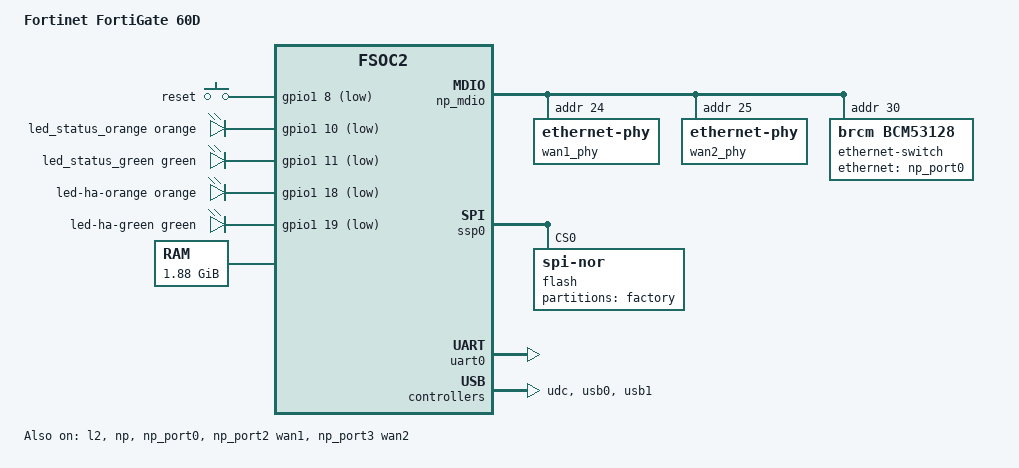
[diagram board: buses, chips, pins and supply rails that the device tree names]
// SPDX-License-Identifier: GPL-2.0-only OR MIT
/dts-v1/;

#include "fsoc2.dtsi"
#include <dt-bindings/gpio/gpio.h>
#include <dt-bindings/input/input.h>
#include <dt-bindings/leds/common.h>

/ {
	model = "Fortinet FortiGate 60D";
	compatible = "fortinet,fg60d", "fortinet,fsoc2";

	aliases {
		serial0 = &uart0;
		led-boot = &led_status_orange;
		led-failsafe = &led_status_orange;
		led-running = &led_status_green;
		led-upgrade = &led_status_orange;
	};

	chosen {
		stdout-path = "serial0:9600n8";
	};

	/* Front panel reset button, pressed low */
	keys {
		compatible = "gpio-keys-polled";
		poll-interval = <100>;

		button-reset {
			label = "reset";
			linux,code = <KEY_RESTART>;
			gpios = <&gpio1 8 GPIO_ACTIVE_LOW>;
		};
	};

	/*
	 * STATUS and HA front panel LEDs: one bicolour LED each, one line per
	 * colour, lit low. Their state is kept as the boot loader left it
	 * (all off). The led-* aliases (STATUS orange while booting, green
	 * once running) are read by user space only, the kernel ignores them.
	 */
	leds {
		compatible = "gpio-leds";

		led_status_orange: led-status-orange {
			color = <LED_COLOR_ID_ORANGE>;
			function = LED_FUNCTION_STATUS;
			gpios = <&gpio1 10 GPIO_ACTIVE_LOW>;
			default-state = "keep";
		};

		led_status_green: led-status-green {
			color = <LED_COLOR_ID_GREEN>;
			function = LED_FUNCTION_STATUS;
			gpios = <&gpio1 11 GPIO_ACTIVE_LOW>;
			default-state = "keep";
		};

		led-ha-orange {
			color = <LED_COLOR_ID_ORANGE>;
			function = "ha";
			gpios = <&gpio1 18 GPIO_ACTIVE_LOW>;
			default-state = "keep";
		};

		led-ha-green {
			color = <LED_COLOR_ID_GREEN>;
			function = "ha";
			gpios = <&gpio1 19 GPIO_ACTIVE_LOW>;
			default-state = "keep";
		};
	};

	/*
	 * 2 GiB of RAM; the top 128 MiB are reserved below.
	 */
	memory@0 {
		device_type = "memory";
		reg = <0x00000000 0x78000000>;
	};

	reserved-memory {
		#address-cells = <1>;
		#size-cells = <1>;
		ranges;

		/*
		 * Descriptor rings the boot loader leaves the network
		 * processor running on, until its driver takes over: RX at
		 * 0x9a00000 with its buffers up to 0x9a20000, TX at 0x9a20420
		 * with its buffer at 0x9a205c0.
		 */
		np_loader: np-loader@9a00000 {
			reg = <0x09a00000 0x00200000>;
			no-map;
		};

		/*
		 * Packet buffer of the network processor, 0x100 blocks of
		 * 64 KiB: where the boot loader puts it, so that it finds it
		 * there again after a reboot.
		 */
		np_pbuf: np-pbuf@9c00000 {
			reg = <0x09c00000 0x01000000>;
			no-map;
		};

		/*
		 * Flow tables of the network processor (hash table, then
		 * overflow table).
		 */
		np_flow: np-flow@3c000000 {
			reg = <0x3c000000 0x03800000>;
			no-map;
		};

		/*
		 * Security associations of the IPsec engine of the network
		 * processor (they survive a reboot), written by the driver when
		 * it offers IPsec offload; kept out of the memory of the kernel
		 * in every case.
		 */
		np_sa: np-sa@3fc00000 {
			reg = <0x3fc00000 0x00400000>;
			no-map;
		};

		/*
		 * Top 128 MiB, kept out of the memory of the kernel, in case the boot loader passes a memory
		 * size that covers them, which would replace the one above.
		 */
		vendor_reserved: memory@78000000 {
			reg = <0x78000000 0x08000000>;
			no-map;
		};
	};

	/*
	 * Internal 4 GB USB boot disk: write windows of its installer, armed
	 * from user space (sector 0, where only the name and build number of
	 * image 0 and the active flags of partitions 1 and 2 may change, and
	 * partition 1, the slot of image 0), and the persistent window of the
	 * writable file system of that slot (rootfs_data, sectors 32768 to
	 * 524287, after the 16 380 KiB boot image at sectors 1 to 32760),
	 * open without arming. rootfs_data is aligned on the 4 KiB pages of
	 * the page cache of the disk, through which its loop device writes;
	 * sectors 32761 to 32767 and 524288 of the slot stay unused.
	 */
	write-windows {
		compatible = "fortinet,usb-disk-write-windows";
		fortinet,disk-vendor = "FORTINET";
		fortinet,disk-model = "S01_V140320_004";
		fortinet,disk-sectors = /bits/ 64 <7913472>;
		fortinet,write-windows = <0 1>, <1 524288>;
		fortinet,sector0-bytes = <0x10 32>, <0x128 4>, <0x1be 1>, <0x1ce 1>;
		fortinet,persistent-windows = <32768 491520>;
	};

	/* Writable file system of the slot of image 0, for user space */
	rootfs-data {
		compatible = "fortinet,disk-rootfs-data";
		fortinet,disk-vendor = "FORTINET";
		fortinet,disk-model = "S01_V140320_004";
		fortinet,disk-sectors = /bits/ 64 <7913472>;
		fortinet,rootfs-data = <32768 491520>;
	};
};

/*
 * Only the lines of the button (8) and of the LEDs (10, 11, 18, 19) are
 * usable. Lines 6, 7, 9 and 23 are enables and resets the boot loader
 * drives (7, 9 and 23 pulsed low, probably the PHYs and the switch), line
 * 14 is found high, lines 12, 13, 16 and 17 are found as outputs, all for
 * an unknown purpose; the other lines up to 19 and 20 to 31 are not
 * known: all are reserved, never touched.
 */
&gpio1 {
	gpio-reserved-ranges = <0 8>, <9 1>, <12 6>, <20 12>;
	status = "okay";
};

/*
 * The boot loader leaves the L2 cache off; the driver turns it on.
 */
&l2 {
	status = "okay";
};

/*
 * The base MAC address comes from the boot flash (mac_base below). Not a
 * device, the cell would hold the probe of the network processor forever
 * if the flash failed: the driver waits for it until the end of the boot,
 * then takes the base from the logical interface table.
 *
 * Reset pins of the NP GPIO block (0 = switch link, 2 = wan1 PHY, 4 = wan2
 * PHY, active low): the boot loader drives them high on its TFTP path only;
 * the driver pulses them low then leaves them outputs at 1 at its probe, so
 * that the kernel also finds its PHYs and switch when booted from the boot
 * device.
 */
&np {
	memory-region = <&np_pbuf>, <&np_loader>, <&np_flow>, <&np_sa>;
	nvmem-cells = <&mac_base 0>;
	nvmem-cell-names = "mac-base";
	post-init-providers = <&mac_base>;
	fortinet,reset-pins = <0 2 4>;
	status = "okay";
};

/*
 * BCM54612E PHYs of WAN1 and WAN2, and the BCM53128 switch, managed through
 * its pseudo-PHY. The internal PHYs of the switch, at the address of their
 * port, are reached by the switch driver.
 */
&np_mdio {
	wan1_phy: ethernet-phy@18 {
		reg = <0x18>;

		leds {
			#address-cells = <1>;
			#size-cells = <0>;

			/* Speed: one bicolour LED between the LED1 and LED2 pins */
			led@0 {
				reg = <0>;
				color = <LED_COLOR_ID_GREEN>;
				function = LED_FUNCTION_SPEED_WAN;
			};

			led@1 {
				reg = <1>;
				color = <LED_COLOR_ID_ORANGE>;
				function = LED_FUNCTION_SPEED_WAN;
			};

			/* Link and activity */
			led@2 {
				reg = <2>;
				color = <LED_COLOR_ID_GREEN>;
				function = LED_FUNCTION_WAN;
			};
		};
	};

	wan2_phy: ethernet-phy@19 {
		reg = <0x19>;

		leds {
			#address-cells = <1>;
			#size-cells = <0>;

			/* Speed: one bicolour LED between the LED1 and LED2 pins */
			led@0 {
				reg = <0>;
				color = <LED_COLOR_ID_GREEN>;
				function = LED_FUNCTION_SPEED_WAN;
			};

			led@1 {
				reg = <1>;
				color = <LED_COLOR_ID_ORANGE>;
				function = LED_FUNCTION_SPEED_WAN;
			};

			/* Link and activity */
			led@2 {
				reg = <2>;
				color = <LED_COLOR_ID_GREEN>;
				function = LED_FUNCTION_WAN;
			};
		};
	};

	ethernet-switch@1e {
		compatible = "brcm,bcm53128";
		reg = <30>;

		/*
		 * Traffic class 7 on every user port: the network processor
		 * classes the frames of the switch on their tag (port and
		 * class) and never matches port 0 (dmz) in class 0.
		 */
		brcm,port-traffic-class = <7>;

		/*
		 * Front panel ports in reverse order, DMZ on port 0. Factory
		 * MAC addresses: base + 1 for dmz, base + 0 for internal1,
		 * base + 4 to base + 9 for internal2 to internal7 (base + 2 and
		 * base + 3 are wan1 and wan2).
		 */
		ethernet-ports {
			#address-cells = <1>;
			#size-cells = <0>;

			ethernet-port@0 {
				reg = <0>;
				label = "dmz";
				nvmem-cells = <&mac_base 1>;
				nvmem-cell-names = "mac-address";
				post-init-providers = <&mac_base>;
			};

			ethernet-port@1 {
				reg = <1>;
				label = "internal7";
				nvmem-cells = <&mac_base 9>;
				nvmem-cell-names = "mac-address";
				post-init-providers = <&mac_base>;
			};

			ethernet-port@2 {
				reg = <2>;
				label = "internal6";
				nvmem-cells = <&mac_base 8>;
				nvmem-cell-names = "mac-address";
				post-init-providers = <&mac_base>;
			};

			ethernet-port@3 {
				reg = <3>;
				label = "internal5";
				nvmem-cells = <&mac_base 7>;
				nvmem-cell-names = "mac-address";
				post-init-providers = <&mac_base>;
			};

			ethernet-port@4 {
				reg = <4>;
				label = "internal4";
				nvmem-cells = <&mac_base 6>;
				nvmem-cell-names = "mac-address";
				post-init-providers = <&mac_base>;
			};

			ethernet-port@5 {
				reg = <5>;
				label = "internal3";
				nvmem-cells = <&mac_base 5>;
				nvmem-cell-names = "mac-address";
				post-init-providers = <&mac_base>;
			};

			ethernet-port@6 {
				reg = <6>;
				label = "internal2";
				nvmem-cells = <&mac_base 4>;
				nvmem-cell-names = "mac-address";
				post-init-providers = <&mac_base>;
			};

			ethernet-port@7 {
				reg = <7>;
				label = "internal1";
				nvmem-cells = <&mac_base 0>;
				nvmem-cell-names = "mac-address";
				post-init-providers = <&mac_base>;
			};

			/* IMP port, RGMII to link 0 of the network processor */
			ethernet-port@8 {
				reg = <8>;
				ethernet = <&np_port0>;
				/* The switch adds the RGMII delays of the link. */
				phy-mode = "rgmii";

				/*
				 * Pause on the IMP: the switch then holds
				 * frames from the network processor and sends
				 * pause frames instead of dropping them at the
				 * IMP input when a user port is congested.
				 */
				fixed-link {
					speed = <1000>;
					full-duplex;
					pause;
				};
			};
		};
	};
};

/*
 * RGMII link to the IMP port of the switch, DSA conduit. The network
 * processor classes the frames of each switch port on a LIF of its own:
 * dmz on LIF 1, internal7 to internal1 (ports 1 to 7) on LIFs 10 to 4, so
 * that the flows through the switch ports are offloaded (directions set by
 * the switch_offload parameter of the driver). The conduit takes LIF 11
 * for the frames of the switch the network processor does not class by
 * port.
 */
&np_port0 {
	/* No delay on this side: the switch adds them. */
	phy-mode = "rgmii";
	status = "okay";
	fortinet,logical-interface = <11>;
	fortinet,switch-logical-interfaces = <1 10 9 8 7 6 5 4>;

	fixed-link {
		speed = <1000>;
		full-duplex;
	};
};

/*
 * RGMII delays in the PHYs, as their strapping sets them (the network
 * processor adds none).
 */
&np_port2 {
	label = "wan1";
	phy-handle = <&wan1_phy>;
	phy-mode = "rgmii-id";
	status = "okay";
};

&np_port3 {
	label = "wan2";
	phy-handle = <&wan2_phy>;
	phy-mode = "rgmii-id";
	status = "okay";
};

/*
 * SPI NOR flash of the boot loader (Winbond W25X40CL, 512 KiB), read only.
 * Only its factory data block is described, which holds the base MAC
 * address of the appliance: 6 bytes, binary, at 0x1880 into the block; port n of the network processor gets the base + n,
 * the switch ports the index of their cell.
 */
&ssp0 {
	status = "okay";

	flash@0 {
		compatible = "jedec,spi-nor";
		reg = <0>;

		partitions {
			compatible = "fixed-partitions";
			#address-cells = <1>;
			#size-cells = <1>;

			partition@3c000 {
				label = "factory";
				reg = <0x3c000 0x4000>;
				read-only;

				nvmem-layout {
					compatible = "fixed-layout";
					#address-cells = <1>;
					#size-cells = <1>;

					mac_base: mac-address@1880 {
						compatible = "mac-base";
						reg = <0x1880 0x6>;
						#nvmem-cell-cells = <1>;
					};
				};
			};
		};
	};
};

&uart0 {
	status = "okay";
};

/* Front panel "MGMT" port, the device side */
&udc {
	status = "okay";
};

/* Front panel "USB" type A port */
&usb0 {
	status = "okay";
};

/*
 * The two internal USB flash drives (4 and 8 GB, usb-storage) are both
 * behind the second controller.
 */
&usb1 {
	status = "okay";
};
